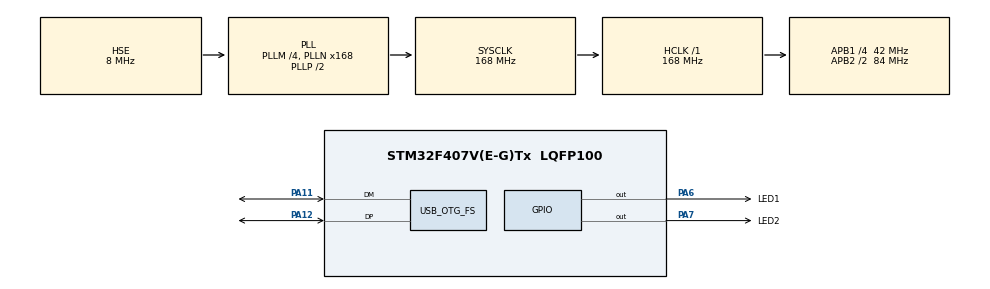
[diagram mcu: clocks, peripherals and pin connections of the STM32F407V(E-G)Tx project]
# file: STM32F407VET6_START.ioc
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Mcu.Family=STM32F4
Mcu.Name=STM32F407V(E-G)Tx
Mcu.Package=LQFP100
NVIC.OTG_FS_IRQn=true\:0\:0\:false\:false\:true\:false\:true
NVIC.PriorityGroup=NVIC_PRIORITYGROUP_4
NVIC.TIM6_DAC_IRQn=true\:0\:0\:false\:false\:true\:true\:true
PA11.Mode=Device_Only
PA11.Signal=USB_OTG_FS_DM
PA12.Mode=Device_Only
PA12.Signal=USB_OTG_FS_DP
PA6.GPIO_Label=LED1
PA6.Signal=GPIO_Output
PA7.GPIO_Label=LED2
PA7.Signal=GPIO_Output
PC14-OSC32_IN.Mode=LSE-External-Oscillator
PC14-OSC32_IN.Signal=RCC_OSC32_IN
PC15-OSC32_OUT.Mode=LSE-External-Oscillator
PC15-OSC32_OUT.Signal=RCC_OSC32_OUT
PH0-OSC_IN.Mode=HSE-External-Oscillator
PH0-OSC_IN.Signal=RCC_OSC_IN
PH1-OSC_OUT.Mode=HSE-External-Oscillator
PH1-OSC_OUT.Signal=RCC_OSC_OUT
ProjectManager.HeapSize=0x400
ProjectManager.StackSize=0x400
ProjectManager.TargetToolchain=MDK-ARM V5
RCC.48MHZClocksFreq_Value=48000000
RCC.AHBFreq_Value=168000000
RCC.APB1CLKDivider=RCC_HCLK_DIV4
RCC.APB1Freq_Value=42000000
RCC.APB1TimFreq_Value=84000000
RCC.APB2CLKDivider=RCC_HCLK_DIV2
RCC.APB2Freq_Value=84000000
RCC.APB2TimFreq_Value=168000000
RCC.CortexFreq_Value=168000000
RCC.HCLKFreq_Value=168000000
RCC.HSE_VALUE=8000000
RCC.HSI_VALUE=16000000
RCC.PLLM=4
RCC.PLLN=168
RCC.PLLQ=7
RCC.PLLSourceVirtual=RCC_PLLSOURCE_HSE
RCC.SYSCLKFreq_VALUE=168000000
RCC.SYSCLKSource=RCC_SYSCLKSOURCE_PLLCLK
RCC.VCOOutputFreq_Value=336000000
TIM6.Period=499
TIM6.Prescaler=20999
TIM6.TIM_MasterOutputTrigger=TIM_TRGO_UPDATE
USB_DEVICE.CLASS_NAME_FS=CDC
USB_DEVICE.VirtualMode-CDC_FS=Cdc
USB_DEVICE.VirtualModeFS=Cdc_FS
USB_OTG_FS.VirtualMode=Device_Only
VP_TIM6_VS_ClockSourceINT.Mode=Enable_Timer
VP_USB_DEVICE_VS_USB_DEVICE_CDC_FS.Mode=CDC_FS
board=custom

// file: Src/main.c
/* USER CODE BEGIN Header */
/**
  ******************************************************************************
  * @file           : main.c
  * @brief          : Main program body
  ******************************************************************************
  * @attention
  *
  * <h2><center>&copy; Copyright (c) 2019 STMicroelectronics.
  * All rights reserved.</center></h2>
  *
  * This software component is licensed by ST under BSD 3-Clause license,
  * the "License"; You may not use this file except in compliance with the
  * License. You may obtain a copy of the License at:
  *                        opensource.org/licenses/BSD-3-Clause
  *
  ******************************************************************************
  */
/* USER CODE END Header */

#include "main.h"
#include "tim.h"
#include "usb_device.h"
#include "gpio.h"

/* USER CODE BEGIN Includes */
#include "usbd_cdc_if.h"

/* USER CODE END Includes */

/* USER CODE BEGIN PV */
extern uint8_t UserRxBufferFS[APP_RX_DATA_SIZE];
extern uint8_t UserTxBufferFS[APP_TX_DATA_SIZE];

/* USER CODE END PV */

void SystemClock_Config(void);

int main(void)
{
  /* USER CODE BEGIN 1 */
   char str_tx[21];
  /* USER CODE END 1 */

  /* MCU Configuration--------------------------------------------------------*/

  /* Reset of all peripherals, Initializes the Flash interface and the Systick. */
  HAL_Init();

  /* Configure the system clock */
  SystemClock_Config();

  /* Initialize all configured peripherals */
  MX_GPIO_Init();
  MX_TIM6_Init();
  MX_USB_DEVICE_Init();
  /* USER CODE BEGIN 2 */
   HAL_TIM_Base_Start(&htim6);
   HAL_TIM_Base_Start_IT(&htim6);
  sprintf(str_tx,"USB Transmit\r\n");

  /* USER CODE END 2 */

  /* Infinite loop */
  /* USER CODE BEGIN WHILE */
  while (1)
  {
    uint16_t len = strlen((const char*)UserRxBufferFS);
    if(len > 0)
    {
      strncpy((char *)UserTxBufferFS, (const char*)UserRxBufferFS, len);
      strcat((char *)UserTxBufferFS, "\r\n");
      CDC_Transmit_FS((uint8_t*)UserTxBufferFS, strlen((const char*)UserTxBufferFS));
      memset(UserRxBufferFS, 0, sizeof(UserRxBufferFS));
      memset(UserTxBufferFS, 0, sizeof(UserTxBufferFS));
    }
    CDC_Transmit_FS((unsigned char*)str_tx, strlen(str_tx));
    HAL_Delay(500);

    /* USER CODE END WHILE */

  }
}

void SystemClock_Config(void)
{
  RCC_OscInitTypeDef RCC_OscInitStruct = {0};
  RCC_ClkInitTypeDef RCC_ClkInitStruct = {0};

  /** Configure the main internal regulator output voltage
  */
  __HAL_RCC_PWR_CLK_ENABLE();
  __HAL_PWR_VOLTAGESCALING_CONFIG(PWR_REGULATOR_VOLTAGE_SCALE1);
  /** Initializes the CPU, AHB and APB busses clocks
  */
  RCC_OscInitStruct.OscillatorType = RCC_OSCILLATORTYPE_HSE;
  RCC_OscInitStruct.HSEState = RCC_HSE_ON;
  RCC_OscInitStruct.PLL.PLLState = RCC_PLL_ON;
  RCC_OscInitStruct.PLL.PLLSource = RCC_PLLSOURCE_HSE;
  RCC_OscInitStruct.PLL.PLLM = 4;
  RCC_OscInitStruct.PLL.PLLN = 168;
  RCC_OscInitStruct.PLL.PLLP = RCC_PLLP_DIV2;
  RCC_OscInitStruct.PLL.PLLQ = 7;
  if (HAL_RCC_OscConfig(&RCC_OscInitStruct) != HAL_OK)
  {
    Error_Handler();
  }
  /** Initializes the CPU, AHB and APB busses clocks
  */
  RCC_ClkInitStruct.ClockType = RCC_CLOCKTYPE_HCLK|RCC_CLOCKTYPE_SYSCLK
                              |RCC_CLOCKTYPE_PCLK1|RCC_CLOCKTYPE_PCLK2;
  RCC_ClkInitStruct.SYSCLKSource = RCC_SYSCLKSOURCE_PLLCLK;
  RCC_ClkInitStruct.AHBCLKDivider = RCC_SYSCLK_DIV1;
  RCC_ClkInitStruct.APB1CLKDivider = RCC_HCLK_DIV4;
  RCC_ClkInitStruct.APB2CLKDivider = RCC_HCLK_DIV2;

  if (HAL_RCC_ClockConfig(&RCC_ClkInitStruct, FLASH_LATENCY_5) != HAL_OK)
  {
    Error_Handler();
  }
}

void Error_Handler(void)
{
}

/************************ (C) COPYRIGHT STMicroelectronics *****END OF FILE****/
